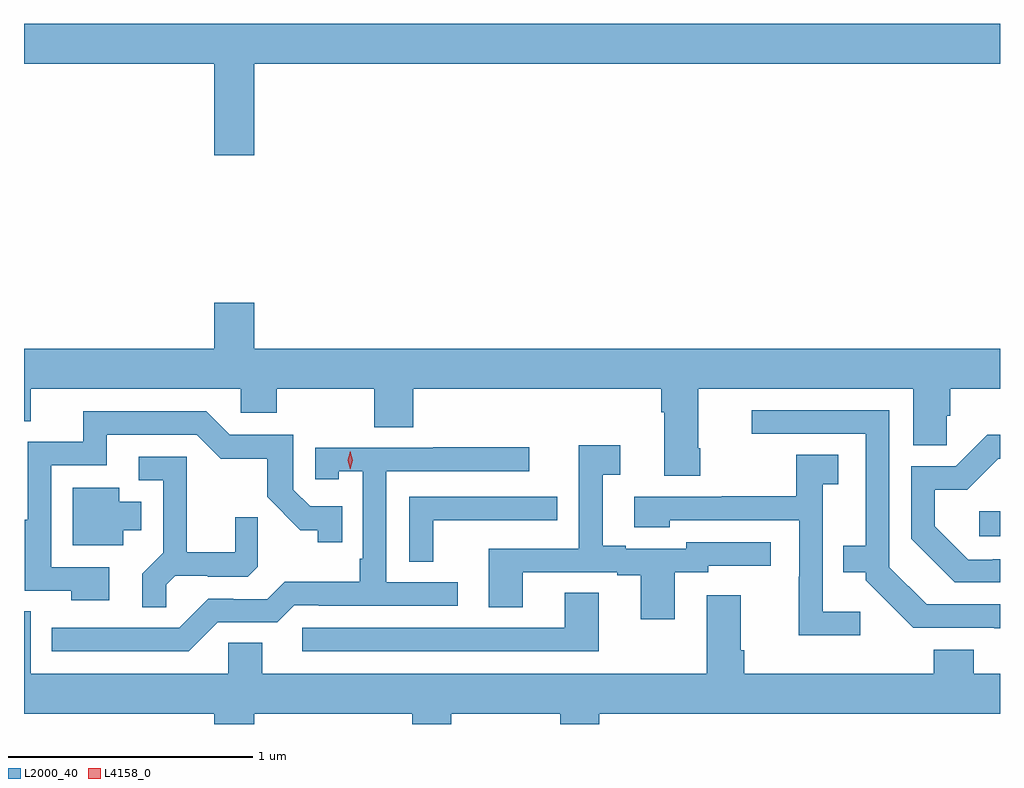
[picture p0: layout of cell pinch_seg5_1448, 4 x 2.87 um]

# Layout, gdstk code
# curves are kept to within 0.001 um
import gdstk
lib = gdstk.Library(unit=1e-6, precision=1e-09)
def R(c, l, rs):  # rectangles x0, y0, x1, y1
    for r in rs: c.add(gdstk.rectangle(r[:2], r[2:], *l))
def P(c, l, *ps):  # polygons
    for p in ps: c.add(gdstk.Polygon(p, *l))
L2000_40 = (2000, 40)
L4158_0 = (4158, 0)

pinch_seg5_1448 = lib.new_cell('pinch_seg5_1448')
R(pinch_seg5_1448, L2000_40, [(204.108,890.787,204.193,890.89)])
P(pinch_seg5_1448, L2000_40, [(201.136,892.724),(204.193,892.724),(204.193,892.888),(200.193,892.888),(200.193,892.724),(200.972,892.724),(200.972,892.35),(201.136,892.35)],
  [(201.136,891.745),(200.972,891.745),(200.972,891.556),(200.193,891.556),(200.193,891.259),(200.221,891.259),(200.221,891.392),(201.081,891.392),(201.081,891.294),(201.228,891.294),(201.228,891.392),(201.628,891.392),(201.628,891.235),(201.788,891.235),(201.788,891.392),(202.805,891.392),(202.805,891.296),(202.817,891.296),(202.817,891.036),(202.965,891.036),(202.965,891.148),(202.957,891.148),(202.957,891.392),(203.837,891.392),(203.837,891.16),(203.975,891.16),(203.975,891.282),(203.99,891.282),(203.99,891.392),(204.193,891.392),(204.193,891.556),(201.136,891.556)],
  [(204.193,890.508),(203.892,890.508),(203.739,890.661),(203.739,891.303),(203.175,891.303),(203.175,891.207),(203.642,891.207),(203.642,890.749),(203.551,890.749),(203.551,890.639),(203.643,890.639),(203.643,890.607),(203.838,890.412),(204.193,890.411)],
  [(200.542,890.661),(200.304,890.661),(200.304,891.078),(200.533,891.078),(200.533,891.204),(200.901,891.204),(201,891.106),(201.189,891.106),(201.189,890.95),(201.326,890.813),(201.396,890.813),(201.396,890.763),(201.497,890.763),(201.497,890.91),(201.366,890.91),(201.297,890.979),(201.297,891.204),(201.036,891.204),(200.94,891.3),(200.435,891.3),(200.435,891.174),(200.208,891.174),(200.208,890.855),(200.196,890.855),(200.196,890.565),(200.386,890.565),(200.386,890.525),(200.542,890.525)],
  [(204.193,890.694),(204.163,890.694),(204.163,890.691),(204.063,890.691),(203.926,890.828),(203.926,890.978),(204.059,890.978),(204.186,891.105),(204.193,891.105),(204.193,891.203),(204.14,891.203),(204.012,891.075),(203.829,891.075),(203.829,890.777),(204.008,890.598),(204.193,890.598)],
  [(202.861,890.64),(202.998,890.64),(202.998,890.667),(203.254,890.667),(203.254,890.763),(202.908,890.763),(202.908,890.736),(202.66,890.736),(202.66,890.749),(202.564,890.749),(202.564,891.04),(202.636,891.04),(202.636,891.16),(202.467,891.16),(202.467,890.736),(202.097,890.736),(202.097,890.497),(202.237,890.497),(202.237,890.64),(202.625,890.64),(202.625,890.628),(202.721,890.628),(202.721,890.448),(202.861,890.448)],
  [(200.988,890.436),(201.231,890.436),(201.3,890.505),(201.4,890.505),(201.4,890.502),(201.97,890.502),(201.97,890.598),(201.678,890.598),(201.678,891.054),(202.264,891.054),(202.264,891.153),(201.871,891.153),(201.871,891.15),(201.387,891.15),(201.387,891.021),(201.483,891.021),(201.483,891.053),(201.582,891.053),(201.582,890.695),(201.57,890.695),(201.57,890.602),(201.262,890.602),(201.189,890.529),(201.05,890.529),(201.05,890.532),(200.949,890.532),(200.829,890.412),(200.306,890.412),(200.306,890.316),(200.868,890.316)],
  [(203.62,890.479),(203.466,890.479),(203.466,891.001),(203.53,891.001),(203.53,891.122),(203.358,891.122),(203.358,890.952),(203.053,890.952),(203.053,890.949),(202.695,890.949),(202.695,890.825),(202.839,890.825),(202.839,890.853),(203.37,890.853),(203.37,890.621),(203.368,890.621),(203.368,890.381),(203.62,890.381)],
  [(200.775,890.588),(200.812,890.625),(200.946,890.625),(200.946,890.622),(201.111,890.622),(201.152,890.663),(201.152,890.865),(201.058,890.865),(201.058,890.722),(200.861,890.722),(200.861,891.114),(200.664,891.114),(200.664,891.018),(200.763,891.018),(200.763,890.719),(200.677,890.633),(200.677,890.497),(200.775,890.497)],
  [(200.599,890.813),(200.674,890.813),(200.674,890.929),(200.584,890.929),(200.584,890.986),(200.393,890.986),(200.393,890.75),(200.599,890.75)],
  [(201.87,890.853),(202.265,890.853),(202.265,890.854),(202.378,890.854),(202.378,890.949),(201.771,890.949),(201.771,890.683),(201.87,890.683)],
  [(202.549,890.555),(202.409,890.555),(202.409,890.412),(201.333,890.412),(201.333,890.316),(202.549,890.316)],
  [(201.136,890.06),(201.785,890.06),(201.785,890.017),(201.945,890.017),(201.945,890.06),(202.39,890.06),(202.39,890.017),(202.55,890.017),(202.55,890.06),(204.193,890.06),(204.193,890.224),(204.086,890.224),(204.086,890.323),(203.921,890.323),(203.921,890.224),(203.144,890.224),(203.144,890.32),(203.131,890.32),(203.131,890.545),(202.991,890.545),(202.991,890.224),(201.169,890.224),(201.169,890.351),(201.03,890.351),(201.03,890.224),(200.221,890.224),(200.221,890.48),(200.193,890.48),(200.193,890.06),(200.972,890.06),(200.972,890.017),(201.136,890.017)])
P(pinch_seg5_1448, L4158_0, [(201.53,891.063),(201.53,891.063),(201.52,891.099),(201.53,891.135),(201.53,891.135),(201.53,891.135),(201.54,891.099),(201.53,891.063)])

lib.write_gds('pinch_seg5_1448.gds')
